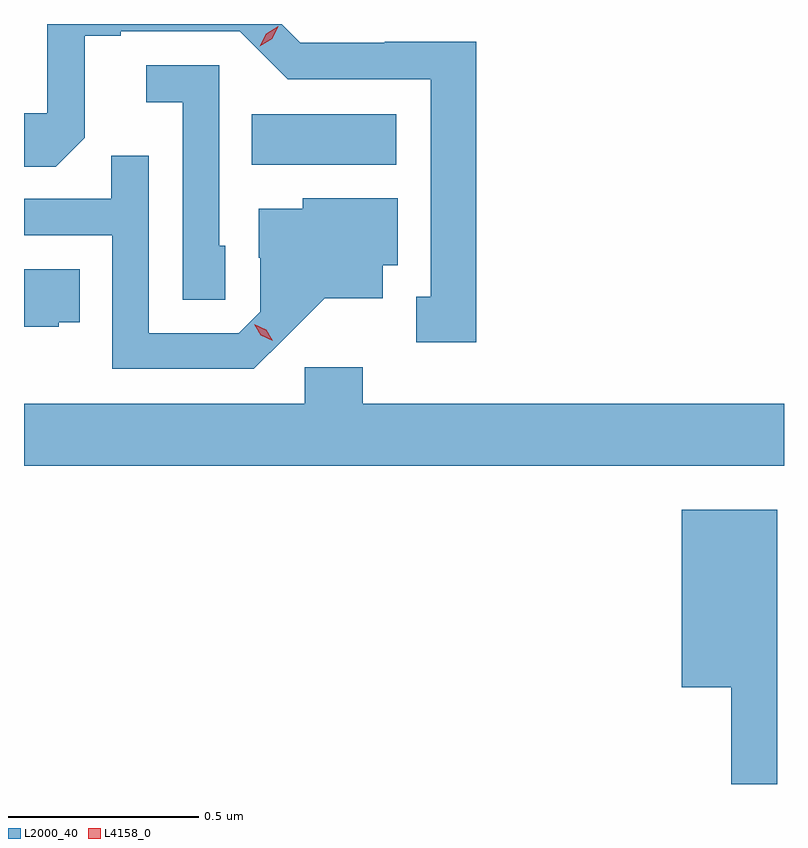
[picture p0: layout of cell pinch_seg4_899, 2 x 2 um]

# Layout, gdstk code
import gdstk
lib = gdstk.Library(unit=1e-6, precision=1e-09)
def R(c, l, rs):  # rectangles x0, y0, x1, y1
    for r in rs: c.add(gdstk.rectangle(r[:2], r[2:], *l))
def P(c, l, *ps):  # polygons
    for p in ps: c.add(gdstk.Polygon(p, *l))
L2000_40 = (2000, 40)
L4158_0 = (4158, 0)

pinch_seg4_899 = lib.new_cell('pinch_seg4_899')
R(pinch_seg4_899, L2000_40, [(767.182,821.588,767.563,821.722)])
P(pinch_seg4_899, L2000_40, [(767.773,821.912),(767.532,821.912),(767.532,821.91),(767.31,821.91),(767.261,821.959),(766.644,821.959),(766.644,821.724),(766.583,821.724),(766.583,821.584),(766.667,821.584),(766.743,821.66),(766.743,821.928),(766.837,821.928),(766.837,821.94),(767.151,821.94),(767.277,821.814),(767.654,821.814),(767.654,821.241),(767.615,821.241),(767.615,821.121),(767.773,821.121)],
  [(767.112,821.376),(767.097,821.376),(767.097,821.85),(766.905,821.85),(766.905,821.753),(767.001,821.753),(767.001,821.233),(767.112,821.233)],
  [(767.272,821.135),(767.375,821.237),(767.527,821.237),(767.527,821.324),(767.566,821.324),(767.566,821.5),(767.316,821.5),(767.316,821.473),(767.201,821.473),(767.201,821.344),(767.205,821.344),(767.205,821.202),(767.148,821.145),(766.911,821.145),(766.911,821.612),(766.813,821.612),(766.813,821.499),(766.583,821.499),(766.583,821.403),(766.815,821.403),(766.815,821.052),(767.188,821.052)],
  [(766.674,821.174),(766.73,821.174),(766.73,821.314),(766.583,821.314),(766.583,821.162),(766.674,821.162)],
  [(768.583,820.96),(767.474,820.96),(767.474,821.056),(767.322,821.056),(767.322,820.96),(766.583,820.96),(766.583,820.796),(768.583,820.796)],
  [(768.565,820.681),(768.314,820.681),(768.314,820.214),(768.444,820.214),(768.444,819.959),(768.565,819.959)])
P(pinch_seg4_899, L4158_0, [(767.204,821.9),(767.204,821.901),(767.221,821.933),(767.252,821.953),(767.252,821.953),(767.252,821.952),(767.236,821.92),(767.204,821.9)],
  [(767.237,821.125),(767.206,821.14),(767.189,821.169),(767.189,821.169),(767.189,821.169),(767.22,821.154),(767.237,821.125),(767.237,821.125)])

lib.write_gds('pinch_seg4_899.gds')
